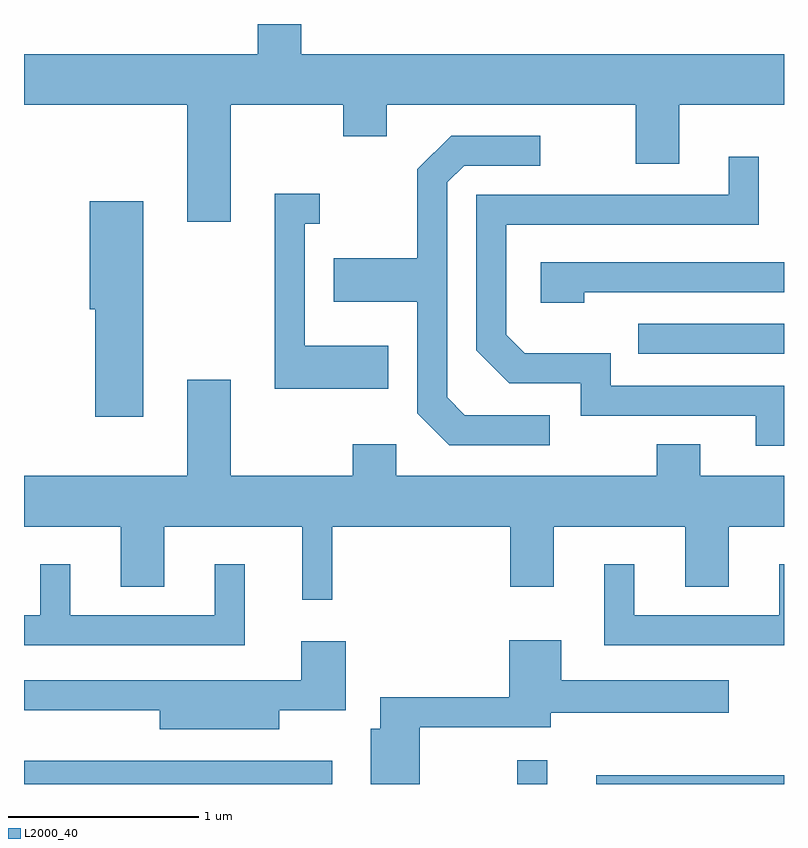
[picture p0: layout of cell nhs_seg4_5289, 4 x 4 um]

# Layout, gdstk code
import gdstk
lib = gdstk.Library(unit=1e-6, precision=1e-09)
def R(c, l, rs):  # rectangles x0, y0, x1, y1
    for r in rs: c.add(gdstk.rectangle(r[:2], r[2:], *l))
def P(c, l, *ps):  # polygons
    for p in ps: c.add(gdstk.Polygon(p, *l))
L2000_40 = (2000, 40)

nhs_seg4_5289 = lib.new_cell('nhs_seg4_5289')
R(nhs_seg4_5289, L2000_40, [(339.611,1359.982,341.234,1360.104), (342.206,1359.982,342.364,1360.108), (342.623,1359.982,343.611,1360.029), (342.843,1362.246,343.611,1362.404)])
P(nhs_seg4_5289, L2000_40, [(341.069,1363.982),(340.841,1363.982),(340.841,1363.824),(339.611,1363.824),(339.611,1363.556),(340.471,1363.556),(340.471,1362.941),(340.699,1362.941),(340.699,1363.556),(341.291,1363.556),(341.291,1363.391),(341.519,1363.391),(341.519,1363.556),(342.831,1363.556),(342.831,1363.246),(343.059,1363.246),(343.059,1363.556),(343.611,1363.556),(343.611,1363.824),(341.069,1363.824)],
  [(342.378,1361.924),(341.932,1361.924),(341.839,1362.017),(341.839,1363.149),(341.927,1363.236),(342.328,1363.236),(342.328,1363.394),(341.859,1363.394),(341.681,1363.217),(341.681,1362.749),(341.241,1362.749),(341.241,1362.521),(341.681,1362.521),(341.681,1361.934),(341.849,1361.766),(342.378,1361.766)],
  [(343.611,1362.079),(342.699,1362.079),(342.699,1362.249),(342.247,1362.249),(342.149,1362.347),(342.149,1362.926),(343.479,1362.926),(343.479,1363.283),(343.321,1363.283),(343.321,1363.084),(341.991,1363.084),(341.991,1362.264),(342.164,1362.091),(342.541,1362.091),(342.541,1361.921),(343.461,1361.921),(343.461,1361.761),(343.611,1361.761)],
  [(341.529,1362.289),(341.089,1362.289),(341.089,1362.931),(341.168,1362.931),(341.168,1363.089),(340.931,1363.089),(340.931,1362.061),(341.529,1362.061)],
  [(340.239,1363.049),(339.956,1363.049),(339.956,1362.481),(339.986,1362.481),(339.986,1361.916),(340.239,1361.916)],
  [(342.559,1362.571),(343.611,1362.571),(343.611,1362.729),(342.331,1362.729),(342.331,1362.516),(342.559,1362.516)],
  [(341.234,1361.336),(342.171,1361.336),(342.171,1361.021),(342.399,1361.021),(342.399,1361.336),(343.091,1361.336),(343.091,1361.021),(343.319,1361.021),(343.319,1361.336),(343.611,1361.336),(343.611,1361.604),(343.169,1361.604),(343.169,1361.769),(342.941,1361.769),(342.941,1361.604),(341.569,1361.604),(341.569,1361.769),(341.341,1361.769),(341.341,1361.604),(340.699,1361.604),(340.699,1362.109),(340.471,1362.109),(340.471,1361.604),(339.611,1361.604),(339.611,1361.336),(340.121,1361.336),(340.121,1361.021),(340.349,1361.021),(340.349,1361.336),(341.076,1361.336),(341.076,1360.953),(341.234,1360.953)],
  [(343.611,1361.138),(343.586,1361.138),(343.586,1360.869),(342.824,1360.869),(342.824,1361.138),(342.666,1361.138),(342.666,1360.711),(343.611,1360.711)],
  [(340.774,1361.138),(340.616,1361.138),(340.616,1360.869),(339.854,1360.869),(339.854,1361.138),(339.696,1361.138),(339.696,1360.869),(339.611,1360.869),(339.611,1360.711),(340.774,1360.711)],
  [(341.694,1360.281),(342.384,1360.281),(342.384,1360.356),(343.319,1360.356),(343.319,1360.529),(342.439,1360.529),(342.439,1360.739),(342.166,1360.739),(342.166,1360.439),(341.486,1360.439),(341.486,1360.274),(341.436,1360.274),(341.436,1359.982),(341.694,1359.982)],
  [(340.954,1360.371),(341.304,1360.371),(341.304,1360.734),(341.071,1360.734),(341.071,1360.529),(339.611,1360.529),(339.611,1360.371),(340.326,1360.371),(340.326,1360.271),(340.954,1360.271)])

lib.write_gds('nhs_seg4_5289.gds')
